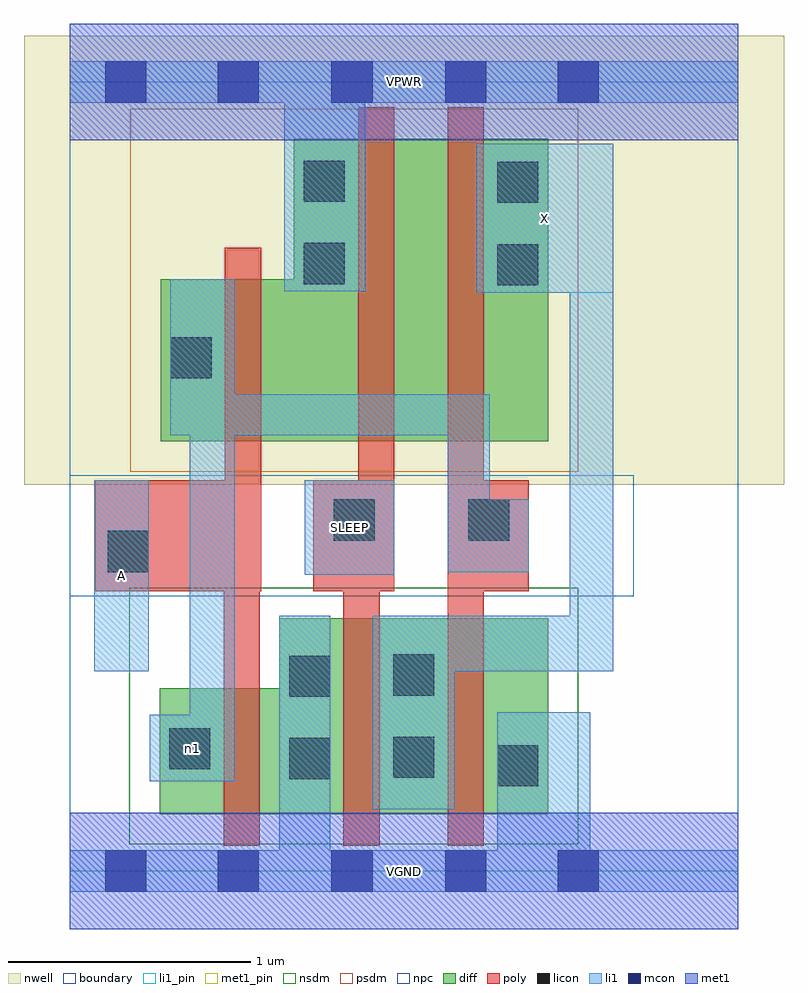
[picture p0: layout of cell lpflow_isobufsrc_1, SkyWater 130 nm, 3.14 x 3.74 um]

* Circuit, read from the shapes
.subckt lpflow_isobufsrc_1 A SLEEP VGND VPWR X n1
XM1 VGND A n1 VSUBS sky130_fd_pr__nfet_01v8 w=0.52 l=0.15
XM2 X SLEEP VGND VSUBS sky130_fd_pr__nfet_01v8 w=0.81 l=0.15
XM3 VGND n1 X VSUBS sky130_fd_pr__nfet_01v8 w=0.81 l=0.15
XM4 VPWR A n1 n2 sky130_fd_pr__pfet_01v8 w=0.67 l=0.15
XM5 n3 SLEEP VPWR n2 sky130_fd_pr__pfet_01v8 w=1.25 l=0.15
XM6 X n1 n3 n2 sky130_fd_pr__pfet_01v8 w=1.25 l=0.15
.ends

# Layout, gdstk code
import gdstk
lib = gdstk.Library(unit=1e-6, precision=1e-09)
def R(c, l, rs):  # rectangles x0, y0, x1, y1
    for r in rs: c.add(gdstk.rectangle(r[:2], r[2:], *l))
def A(c, l, x, y, w, h, nx, ny, dx, dy):  # array of equal rectangles
    R(c, l, [(x+i*dx, y+j*dy, x+i*dx+w, y+j*dy+h) for i in range(nx) for j in range(ny)])
nwell = (64, 20)
diff = (65, 20)
poly = (66, 20)
licon = (66, 44)
li1_pin = (67, 16)
li1 = (67, 20)
mcon = (67, 44)
met1_pin = (68, 16)
met1 = (68, 20)
nsdm = (93, 44)
psdm = (94, 20)
npc = (95, 20)
boundary = (235, 4)

lpflow_isobufsrc_1 = lib.new_cell('lpflow_isobufsrc_1')
R(lpflow_isobufsrc_1, nwell, [(-0.19,1.595,2.95,3.45), (0,1.595,2.76,3.45)])
R(lpflow_isobufsrc_1, diff, [(0.37,0.235,1.975,0.755), (0.865,0.235,1.975,1.045), (0.375,1.775,1.975,2.445), (0.925,1.775,1.975,3.025)])
R(lpflow_isobufsrc_1, poly, [(0.635,0.105,0.785,1.615), (1.13,0.105,1.28,1.615), (1.56,0.105,1.71,3.155), (0.105,1.155,0.79,1.615), (0.64,1.155,0.79,2.575), (1.005,1.155,1.34,1.615), (1.19,1.155,1.34,3.155), (1.56,1.155,1.895,1.615)])
R(lpflow_isobufsrc_1, licon, [(1.765,0.35,1.935,0.52), (0.905,0.38,1.075,0.55), (1.335,0.385,1.505,0.555), (0.41,0.42,0.58,0.59), (0.905,0.72,1.075,0.89), (1.335,0.725,1.505,0.895), (0.155,1.235,0.325,1.405), (1.09,1.365,1.26,1.535), (1.645,1.365,1.815,1.535), (0.415,2.035,0.585,2.205), (1.765,2.42,1.935,2.59), (0.965,2.425,1.135,2.595), (1.765,2.76,1.935,2.93), (0.965,2.765,1.135,2.935)])
R(lpflow_isobufsrc_1, li1_pin, [(0.1,0.825,0.325,1.615), (0.97,1.225,1.34,1.615), (1.68,2.39,2.245,3.005)])
R(lpflow_isobufsrc_1, li1, [(0,-0.085,2.76,0.085), (0.865,-0.085,1.075,1.055), (1.765,-0.085,2.15,0.655), (1.25,0.255,1.59,1.055), (0.33,0.37,0.68,0.645), (0.495,0.37,0.68,2.445), (0.1,0.825,0.325,1.615), (1.25,0.825,2.245,1.055), (2.065,0.825,2.245,3.005), (0.97,1.225,1.34,1.615), (1.56,1.235,1.735,1.97), (1.56,1.235,1.895,1.535), (0.415,1.8,1.735,1.97), (0.415,1.8,0.68,2.445), (1.68,2.39,2.245,3.005), (0.885,2.395,1.22,3.345), (0,3.175,2.76,3.345)])
A(lpflow_isobufsrc_1, mcon, 0.61, -0.085, 0.17, 0.17, 3, 2, 0.47, 3.26)
R(lpflow_isobufsrc_1, mcon, [(0.145,-0.085,0.315,0.085), (2.015,-0.085,2.185,0.085), (0.145,3.175,0.315,3.345), (2.015,3.175,2.185,3.345)])
R(lpflow_isobufsrc_1, met1_pin, [(0,-0.24,2.76,0.24), (0,3.02,2.76,3.5)])
R(lpflow_isobufsrc_1, met1, [(0,-0.24,2.76,0.24), (0,3.02,2.76,3.5)])
R(lpflow_isobufsrc_1, nsdm, [(0.245,0.11,2.1,1.17)])
R(lpflow_isobufsrc_1, psdm, [(0.25,1.65,2.1,3.15)])
R(lpflow_isobufsrc_1, npc, [(0,1.135,2.33,1.635)])
R(lpflow_isobufsrc_1, boundary, [(0,0,2.76,3.26)])
lpflow_isobufsrc_1.add(gdstk.Label('A', (0.212,1.22), layer=67, texttype=5))
lpflow_isobufsrc_1.add(gdstk.Label('SLEEP', (1.155,1.42), layer=67, texttype=5))
lpflow_isobufsrc_1.add(gdstk.Label('X', (1.962,2.697), layer=67, texttype=5))
lpflow_isobufsrc_1.add(gdstk.Label('n1', (0.505,0.507), layer=67, texttype=5))
lpflow_isobufsrc_1.add(gdstk.Label('VPWR', (1.38,3.26), layer=68, texttype=5))
lpflow_isobufsrc_1.add(gdstk.Label('VGND', (1.38,0), layer=68, texttype=5))
lpflow_isobufsrc_1.add(gdstk.Label('A', (0.212,1.22), layer=67, texttype=16))
lpflow_isobufsrc_1.add(gdstk.Label('SLEEP', (1.155,1.42), layer=67, texttype=16))
lpflow_isobufsrc_1.add(gdstk.Label('X', (1.962,2.697), layer=67, texttype=16))
lpflow_isobufsrc_1.add(gdstk.Label('VPWR', (1.38,3.26), layer=68, texttype=16))
lpflow_isobufsrc_1.add(gdstk.Label('VGND', (1.38,0), layer=68, texttype=16))

lib.write_gds('lpflow_isobufsrc_1.gds')
